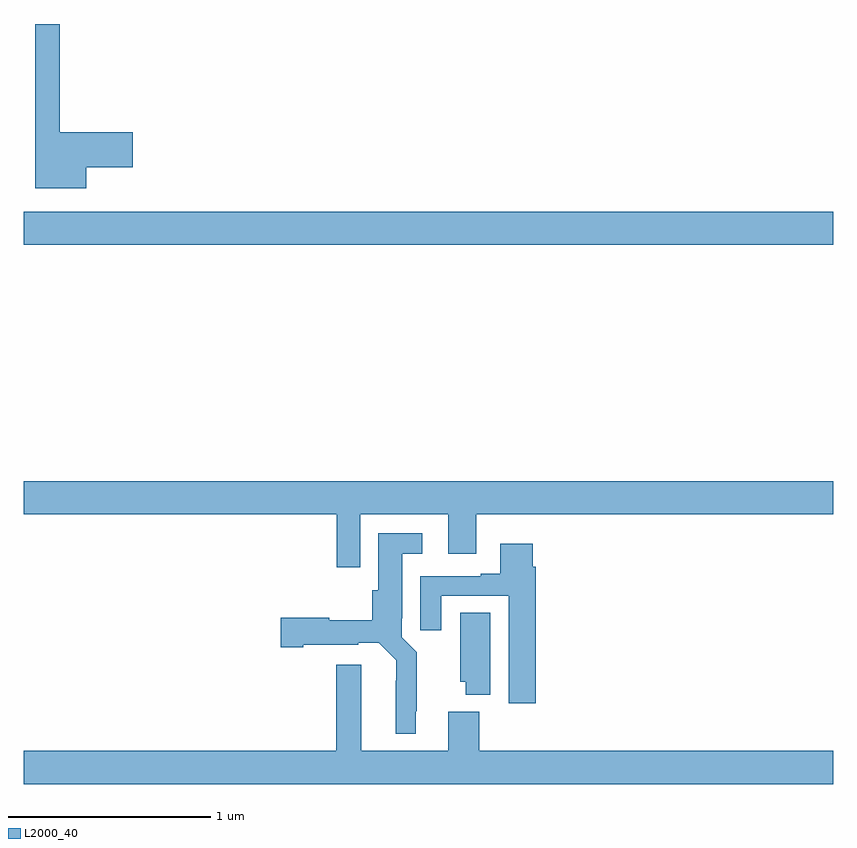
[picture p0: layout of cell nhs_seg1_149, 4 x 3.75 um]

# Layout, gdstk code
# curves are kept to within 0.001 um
import gdstk
lib = gdstk.Library(unit=1e-6, precision=1e-09)
def R(c, l, rs):  # rectangles x0, y0, x1, y1
    for r in rs: c.add(gdstk.rectangle(r[:2], r[2:], *l))
def P(c, l, *ps):  # polygons
    for p in ps: c.add(gdstk.Polygon(p, *l))
L2000_40 = (2000, 40)

nhs_seg1_149 = lib.new_cell('nhs_seg1_149')
R(nhs_seg1_149, L2000_40, [(119,509.108,123,509.272)])
P(nhs_seg1_149, L2000_40, [(119.308,509.492),(119.539,509.492),(119.539,509.663),(119.179,509.663),(119.179,510.199),(119.057,510.199),(119.057,509.387),(119.308,509.387)],
  [(120.663,507.776),(121.097,507.776),(121.097,507.582),(121.237,507.582),(121.237,507.776),(123,507.776),(123,507.94),(119,507.94),(119,507.776),(120.547,507.776),(120.547,507.516),(120.663,507.516)],
  [(120.937,506.803),(120.941,506.803),(120.941,507.094),(120.867,507.168),(120.867,507.262),(120.871,507.262),(120.871,507.581),(120.97,507.581),(120.97,507.682),(120.752,507.682),(120.752,507.402),(120.722,507.402),(120.722,507.253),(120.51,507.253),(120.51,507.266),(120.27,507.266),(120.27,507.119),(120.382,507.119),(120.382,507.131),(120.654,507.131),(120.654,507.143),(120.753,507.143),(120.84,507.056),(120.839,506.693),(120.937,506.693)],
  [(121.529,507.518),(121.516,507.518),(121.516,507.631),(121.355,507.631),(121.355,507.484),(121.259,507.484),(121.259,507.471),(120.959,507.471),(120.959,507.204),(121.063,507.204),(121.063,507.375),(121.397,507.375),(121.397,506.844),(121.529,506.844)],
  [(121.306,507.29),(121.157,507.29),(121.157,506.949),(121.184,506.949),(121.184,506.885),(121.306,506.885)],
  [(123,506.608),(121.25,506.608),(121.25,506.8),(121.097,506.8),(121.097,506.608),(120.667,506.608),(120.667,507.034),(120.545,507.034),(120.545,506.608),(119,506.608),(119,506.444),(123,506.444)])

lib.write_gds('nhs_seg1_149.gds')
